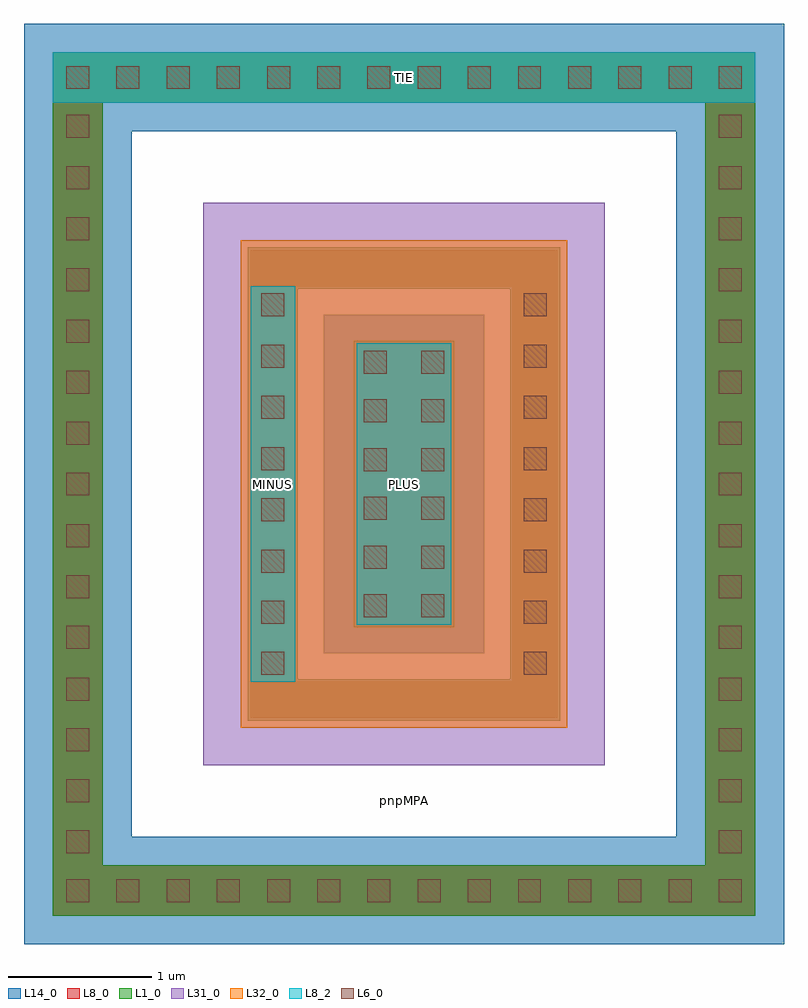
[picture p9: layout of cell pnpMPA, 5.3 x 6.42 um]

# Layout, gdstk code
import gdstk
lib = gdstk.Library(unit=1e-6, precision=1e-09)
def R(c, l, rs):  # rectangles x0, y0, x1, y1
    for r in rs: c.add(gdstk.rectangle(r[:2], r[2:], *l))
def P(c, l, *ps):  # polygons
    for p in ps: c.add(gdstk.Polygon(p, *l))
L1_0 = (1, 0)
L6_0 = (6, 0)
L8_0 = (8, 0)
L8_2 = (8, 2)
L14_0 = (14, 0)
L31_0 = (31, 0)
L32_0 = (32, 0)

pnpmpa = lib.new_cell('pnpMPA')
R(pnpmpa, L1_0, [(-0.35,-1,0.35,1), (-0.35,-1,0.35,1)])
P(pnpmpa, L1_0, [(-2.45,-3.01),(-2.45,3.01),(2.1,3.01),(2.1,2.66),(-2.1,2.66),(-2.1,-2.66),(2.1,-2.66),(2.1,3.01),(2.45,3.01),(2.45,-3.01)],
  [(-1.09,-1.65),(-1.09,1.65),(0.74,1.65),(0.74,1.36),(-0.74,1.36),(-0.74,-1.36),(0.74,-1.36),(0.74,1.65),(1.09,1.65),(1.09,-1.65)],
  [(-2.45,-3.01),(-2.45,3.01),(2.1,3.01),(2.1,2.66),(-2.1,2.66),(-2.1,-2.66),(2.1,-2.66),(2.1,3.01),(2.45,3.01),(2.45,-3.01)],
  [(-1.09,-1.65),(-1.09,1.65),(0.74,1.65),(0.74,1.36),(-0.74,1.36),(-0.74,-1.36),(0.74,-1.36),(0.74,1.65),(1.09,1.65),(1.09,-1.65)])
R(pnpmpa, L6_0, [(-2.355,-2.915,-2.195,-2.755), (-2.355,-2.915,-2.195,-2.755), (-2.005,-2.915,-1.845,-2.755), (-2.005,-2.915,-1.845,-2.755), (-1.655,-2.915,-1.495,-2.755), (-1.655,-2.915,-1.495,-2.755), (-1.305,-2.915,-1.145,-2.755), (-1.305,-2.915,-1.145,-2.755), (-0.955,-2.915,-0.795,-2.755), (-0.955,-2.915,-0.795,-2.755), (-0.605,-2.915,-0.445,-2.755), (-0.605,-2.915,-0.445,-2.755), (-0.255,-2.915,-0.095,-2.755), (-0.255,-2.915,-0.095,-2.755), (0.095,-2.915,0.255,-2.755), (0.095,-2.915,0.255,-2.755), (0.445,-2.915,0.605,-2.755), (0.445,-2.915,0.605,-2.755), (0.795,-2.915,0.955,-2.755), (0.795,-2.915,0.955,-2.755), (1.145,-2.915,1.305,-2.755), (1.145,-2.915,1.305,-2.755), (1.495,-2.915,1.655,-2.755), (1.495,-2.915,1.655,-2.755), (1.845,-2.915,2.005,-2.755), (1.845,-2.915,2.005,-2.755), (2.195,-2.915,2.355,-2.755), (2.195,-2.915,2.355,-2.755), (-2.355,-2.575,-2.195,-2.415), (-2.355,-2.575,-2.195,-2.415), (2.195,-2.575,2.355,-2.415), (2.195,-2.575,2.355,-2.415), (-2.355,-2.22,-2.195,-2.06), (-2.355,-2.22,-2.195,-2.06), (2.195,-2.22,2.355,-2.06), (2.195,-2.22,2.355,-2.06), (-2.355,-1.865,-2.195,-1.705), (-2.355,-1.865,-2.195,-1.705), (2.195,-1.865,2.355,-1.705), (2.195,-1.865,2.355,-1.705), (-2.355,-1.51,-2.195,-1.35), (-2.355,-1.51,-2.195,-1.35), (2.195,-1.51,2.355,-1.35), (2.195,-1.51,2.355,-1.35), (-0.995,-1.33,-0.835,-1.17), (-0.995,-1.33,-0.835,-1.17), (0.835,-1.33,0.995,-1.17), (0.835,-1.33,0.995,-1.17), (-2.355,-1.15,-2.195,-0.99), (-2.355,-1.15,-2.195,-0.99), (2.195,-1.15,2.355,-0.99), (2.195,-1.15,2.355,-0.99), (-0.995,-0.975,-0.835,-0.815), (-0.995,-0.975,-0.835,-0.815), (0.835,-0.975,0.995,-0.815), (0.835,-0.975,0.995,-0.815), (-0.28,-0.93,-0.12,-0.77), (-0.28,-0.93,-0.12,-0.77), (0.12,-0.93,0.28,-0.77), (0.12,-0.93,0.28,-0.77), (-2.355,-0.795,-2.195,-0.635), (-2.355,-0.795,-2.195,-0.635), (2.195,-0.795,2.355,-0.635), (2.195,-0.795,2.355,-0.635), (-0.995,-0.62,-0.835,-0.46), (-0.995,-0.62,-0.835,-0.46), (0.835,-0.62,0.995,-0.46), (0.835,-0.62,0.995,-0.46), (-0.28,-0.59,-0.12,-0.43), (-0.28,-0.59,-0.12,-0.43), (0.12,-0.59,0.28,-0.43), (0.12,-0.59,0.28,-0.43), (-2.355,-0.44,-2.195,-0.28), (-2.355,-0.44,-2.195,-0.28), (2.195,-0.44,2.355,-0.28), (2.195,-0.44,2.355,-0.28), (-0.995,-0.26,-0.835,-0.1), (-0.995,-0.26,-0.835,-0.1), (0.835,-0.26,0.995,-0.1), (0.835,-0.26,0.995,-0.1), (-0.28,-0.25,-0.12,-0.09), (-0.28,-0.25,-0.12,-0.09), (0.12,-0.25,0.28,-0.09), (0.12,-0.25,0.28,-0.09), (-2.355,-0.08,-2.195,0.08), (-2.355,-0.08,-2.195,0.08), (2.195,-0.08,2.355,0.08), (2.195,-0.08,2.355,0.08), (-0.28,0.09,-0.12,0.25), (-0.28,0.09,-0.12,0.25), (0.12,0.09,0.28,0.25), (0.12,0.09,0.28,0.25), (-0.995,0.095,-0.835,0.255), (-0.995,0.095,-0.835,0.255), (0.835,0.095,0.995,0.255), (0.835,0.095,0.995,0.255), (-2.355,0.275,-2.195,0.435), (-2.355,0.275,-2.195,0.435), (2.195,0.275,2.355,0.435), (2.195,0.275,2.355,0.435), (-0.28,0.43,-0.12,0.59), (-0.28,0.43,-0.12,0.59), (0.12,0.43,0.28,0.59), (0.12,0.43,0.28,0.59), (-0.995,0.455,-0.835,0.615), (-0.995,0.455,-0.835,0.615), (0.835,0.455,0.995,0.615), (0.835,0.455,0.995,0.615), (-2.355,0.63,-2.195,0.79), (-2.355,0.63,-2.195,0.79), (2.195,0.63,2.355,0.79), (2.195,0.63,2.355,0.79), (-0.28,0.77,-0.12,0.93), (-0.28,0.77,-0.12,0.93), (0.12,0.77,0.28,0.93), (0.12,0.77,0.28,0.93), (-0.995,0.81,-0.835,0.97), (-0.995,0.81,-0.835,0.97), (0.835,0.81,0.995,0.97), (0.835,0.81,0.995,0.97), (-2.355,0.985,-2.195,1.145), (-2.355,0.985,-2.195,1.145), (2.195,0.985,2.355,1.145), (2.195,0.985,2.355,1.145), (-0.995,1.17,-0.835,1.33), (-0.995,1.17,-0.835,1.33), (0.835,1.17,0.995,1.33), (0.835,1.17,0.995,1.33), (-2.355,1.345,-2.195,1.505), (-2.355,1.345,-2.195,1.505), (2.195,1.345,2.355,1.505), (2.195,1.345,2.355,1.505), (-2.355,1.7,-2.195,1.86), (-2.355,1.7,-2.195,1.86), (2.195,1.7,2.355,1.86), (2.195,1.7,2.355,1.86), (-2.355,2.055,-2.195,2.215), (-2.355,2.055,-2.195,2.215), (2.195,2.055,2.355,2.215), (2.195,2.055,2.355,2.215), (-2.355,2.415,-2.195,2.575), (-2.355,2.415,-2.195,2.575), (2.195,2.415,2.355,2.575), (2.195,2.415,2.355,2.575), (-2.355,2.755,-2.195,2.915), (-2.355,2.755,-2.195,2.915), (-2.005,2.755,-1.845,2.915), (-2.005,2.755,-1.845,2.915), (-1.655,2.755,-1.495,2.915), (-1.655,2.755,-1.495,2.915), (-1.305,2.755,-1.145,2.915), (-1.305,2.755,-1.145,2.915), (-0.955,2.755,-0.795,2.915), (-0.955,2.755,-0.795,2.915), (-0.605,2.755,-0.445,2.915), (-0.605,2.755,-0.445,2.915), (-0.255,2.755,-0.095,2.915), (-0.255,2.755,-0.095,2.915), (0.095,2.755,0.255,2.915), (0.095,2.755,0.255,2.915), (0.445,2.755,0.605,2.915), (0.445,2.755,0.605,2.915), (0.795,2.755,0.955,2.915), (0.795,2.755,0.955,2.915), (1.145,2.755,1.305,2.915), (1.145,2.755,1.305,2.915), (1.495,2.755,1.655,2.915), (1.495,2.755,1.655,2.915), (1.845,2.755,2.005,2.915), (1.845,2.755,2.005,2.915), (2.195,2.755,2.355,2.915), (2.195,2.755,2.355,2.915)])
R(pnpmpa, L8_0, [(-2.45,-3.01,2.45,-2.66), (-2.45,-3.01,2.45,-2.66), (-2.45,-2.66,-2.1,2.66), (-2.45,-2.66,-2.1,2.66), (2.1,-2.66,2.45,2.66), (2.1,-2.66,2.45,2.66), (-1.07,-1.38,-0.76,1.38), (-1.07,-1.38,-0.76,1.38), (0.76,-1.38,1.07,1.38), (0.76,-1.38,1.07,1.38), (-0.33,-0.98,0.33,0.98), (-0.33,-0.98,0.33,0.98), (-2.45,2.66,2.45,3.01), (-2.45,2.66,2.45,3.01)])
P(pnpmpa, L8_0, [(-1.07,-1.63),(-1.07,1.63),(0.76,1.63),(0.76,1.38),(-0.76,1.38),(-0.76,-1.38),(0.76,-1.38),(0.76,1.63),(1.07,1.63),(1.07,-1.63)],
  [(-1.07,-1.63),(-1.07,1.63),(0.76,1.63),(0.76,1.38),(-0.76,1.38),(-0.76,-1.38),(0.76,-1.38),(0.76,1.63),(1.07,1.63),(1.07,-1.63)])
R(pnpmpa, L8_2, [(-1.07,-1.38,-0.76,1.38), (-1.07,-1.38,-0.76,1.38), (-0.33,-0.98,0.33,0.98), (-0.33,-0.98,0.33,0.98), (-2.45,2.66,2.45,3.01), (-2.45,2.66,2.45,3.01)])
R(pnpmpa, L14_0, [(-0.56,-1.18,0.56,1.18), (-0.56,-1.18,0.56,1.18)])
P(pnpmpa, L14_0, [(-2.65,-3.21),(-2.65,3.21),(1.9,3.21),(1.9,2.46),(-1.9,2.46),(-1.9,-2.46),(1.9,-2.46),(1.9,3.21),(2.65,3.21),(2.65,-3.21)],
  [(-2.65,-3.21),(-2.65,3.21),(1.9,3.21),(1.9,2.46),(-1.9,2.46),(-1.9,-2.46),(1.9,-2.46),(1.9,3.21),(2.65,3.21),(2.65,-3.21)])
R(pnpmpa, L31_0, [(-1.4,-1.96,1.4,1.96), (-1.4,-1.96,1.4,1.96)])
R(pnpmpa, L32_0, [(-1.14,-1.7,1.14,1.7), (-1.14,-1.7,1.14,1.7)])
pnpmpa.add(gdstk.Label('TIE', (0,2.835), layer=63, texttype=0))
pnpmpa.add(gdstk.Label('pnpMPA', (0,-2.21), layer=63, texttype=0))
pnpmpa.add(gdstk.Label('MINUS', (-0.915,0), layer=63, texttype=0))
pnpmpa.add(gdstk.Label('PLUS', (0,0), layer=63, texttype=0))
pnpmpa.add(gdstk.Label('TIE', (0,2.835), layer=63, texttype=0))
pnpmpa.add(gdstk.Label('pnpMPA', (0,-2.21), layer=63, texttype=0))
pnpmpa.add(gdstk.Label('MINUS', (-0.915,0), layer=63, texttype=0))
pnpmpa.add(gdstk.Label('PLUS', (0,0), layer=63, texttype=0))

lib.write_gds('pnpMPA.gds')
